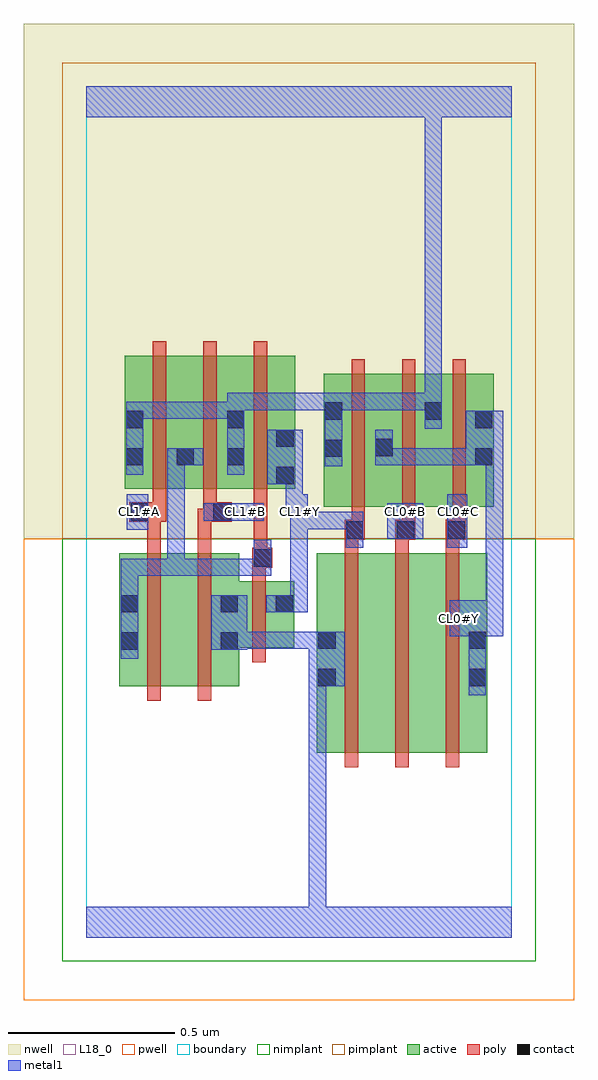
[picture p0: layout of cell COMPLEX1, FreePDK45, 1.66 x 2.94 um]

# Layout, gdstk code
import gdstk
lib = gdstk.Library(unit=1e-6, precision=1e-09)
def R(c, l, rs):  # rectangles x0, y0, x1, y1
    for r in rs: c.add(gdstk.rectangle(r[:2], r[2:], *l))
def A(c, l, x, y, w, h, nx, ny, dx, dy):  # array of equal rectangles
    R(c, l, [(x+i*dx, y+j*dy, x+i*dx+w, y+j*dy+h) for i in range(nx) for j in range(ny)])
active = (1, 0)
pwell = (2, 0)
nwell = (3, 0)
nimplant = (4, 0)
pimplant = (5, 0)
poly = (9, 0)
contact = (10, 0)
metal1 = (11, 0)
L18_0 = (18, 0)
boundary = (235, 0)

complex1 = lib.new_cell('COMPLEX1')
R(complex1, active, [(0.694,0.556,0.754,1.156), (0.694,0.556,0.874,1.156), (0.874,0.556,1.026,1.156), (1.026,0.556,1.206,1.156), (1.146,0.556,1.206,1.156), (0.1,0.756,0.28,1.156), (0.1,0.756,0.16,1.156), (0.28,0.756,0.46,1.156), (0.4,0.756,0.46,1.072), (0.4,0.872,0.626,1.072), (0.566,0.872,0.626,1.072), (0.714,1.296,0.774,1.696), (0.714,1.296,0.926,1.696), (0.866,1.296,1.074,1.696), (1.014,1.296,1.074,1.696), (1.014,1.296,1.226,1.696), (1.166,1.296,1.226,1.696), (0.116,1.35,0.328,1.75), (0.116,1.35,0.176,1.644), (0.268,1.35,0.48,1.75), (0.42,1.35,0.628,1.75), (0.568,1.35,0.628,1.644), (0.268,1.416,0.328,1.644), (0.42,1.416,0.48,1.644), (0.866,1.444,0.926,1.644)])
R(complex1, pwell, [(-0.188,-0.188,1.468,1.2)])
R(complex1, nwell, [(-0.188,1.2,1.468,2.748)])
R(complex1, nimplant, [(-0.072,-0.072,1.352,1.2)])
R(complex1, pimplant, [(-0.072,1.2,1.352,2.632)])
A(complex1, poly, 0.778, 0.512, 0.04, 0.688, 3, 1, 0.152, 0)
A(complex1, poly, 0.778, 1.16, 0.04, 0.076, 3, 1, 0.152, 0)
A(complex1, poly, 0.778, 1.196, 0.06, 0.06, 3, 1, 0.152, 0)
A(complex1, poly, 0.798, 1.216, 0.04, 0.076, 3, 1, 0.152, 0)
A(complex1, poly, 0.798, 1.252, 0.04, 0.488, 3, 1, 0.152, 0)
A(complex1, poly, 0.2, 1.306, 0.04, 0.488, 3, 1, 0.152, 0)
R(complex1, poly, [(0.184,0.712,0.224,1.2), (0.336,0.712,0.376,1.2), (0.5,0.828,0.54,1.116), (0.5,1.076,0.54,1.152), (0.5,1.112,0.56,1.172), (0.504,1.132,0.544,1.172), (0.504,1.132,0.544,1.172), (0.504,1.132,0.544,1.346), (0.184,1.16,0.224,1.29), (0.336,1.16,0.376,1.29), (1.082,1.196,1.122,1.236), (1.082,1.196,1.122,1.236), (0.798,1.216,0.838,1.256), (0.798,1.216,0.838,1.256), (0.95,1.216,0.99,1.256), (0.95,1.216,0.99,1.256), (0.13,1.25,0.24,1.31), (0.184,1.25,0.224,1.29), (0.184,1.25,0.224,1.29), (0.336,1.25,0.392,1.29), (0.352,1.25,0.392,1.29), (0.352,1.25,0.438,1.31), (0.2,1.27,0.24,1.346), (0.352,1.27,0.392,1.346)])
A(complex1, contact, 0.782, 1.2, 0.052, 0.052, 3, 1, 0.152, 0)
A(complex1, contact, 0.12, 1.42, 0.052, 0.052, 3, 1, 0.152, 0)
R(complex1, contact, [(0.698,0.756,0.75,0.808), (1.15,0.756,1.202,0.808), (0.104,0.866,0.156,0.918), (0.404,0.866,0.456,0.918), (0.698,0.868,0.75,0.92), (1.15,0.868,1.202,0.92), (0.104,0.978,0.156,1.03), (0.404,0.978,0.456,1.03), (0.57,0.978,0.622,1.03), (0.504,1.116,0.556,1.168), (0.134,1.254,0.186,1.306), (0.382,1.254,0.434,1.306), (0.572,1.364,0.624,1.416), (1.17,1.42,1.222,1.472), (0.718,1.446,0.77,1.498), (0.87,1.448,0.922,1.5), (0.572,1.476,0.624,1.528), (0.12,1.532,0.172,1.584), (0.424,1.532,0.476,1.584), (1.17,1.532,1.222,1.584), (0.718,1.558,0.77,1.61), (1.018,1.558,1.07,1.61)])
R(complex1, metal1, [(0,0,1.28,0.092), (0.67,0.04,0.722,0.808), (1.15,0.728,1.202,0.948), (0.67,0.756,0.722,0.808), (0.67,0.756,0.722,0.808), (0.67,0.756,0.722,0.808), (0.67,0.756,0.722,0.808), (0.67,0.756,0.722,0.808), (0.67,0.756,0.722,0.808), (0.67,0.756,0.722,0.808), (0.67,0.756,0.722,0.808), (0.67,0.756,0.778,0.92), (0.104,0.838,0.156,1.058), (0.376,0.866,0.484,1.03), (0.432,0.868,0.484,0.92), (0.432,0.868,0.484,0.92), (0.432,0.868,0.594,0.92), (0.542,0.868,0.594,0.92), (0.542,0.868,0.594,0.92), (0.542,0.868,0.594,0.92), (0.542,0.868,0.594,0.92), (0.542,0.868,0.594,0.92), (0.542,0.868,0.722,0.92), (1.15,0.896,1.202,0.958), (1.094,0.906,1.254,1.014), (1.202,0.962,1.254,1.472), (0.542,0.978,0.666,1.03), (0.614,0.978,0.666,1.278), (0.104,1.006,0.156,1.14), (0.104,1.088,0.156,1.14), (0.104,1.088,0.156,1.14), (0.104,1.088,0.156,1.14), (0.104,1.088,0.296,1.14), (0.244,1.088,0.296,1.14), (0.244,1.088,0.296,1.14), (0.244,1.088,0.296,1.14), (0.244,1.088,0.406,1.14), (0.244,1.088,0.296,1.472), (0.354,1.088,0.406,1.14), (0.354,1.088,0.556,1.14), (0.504,1.088,0.556,1.196), (0.782,1.172,0.834,1.28), (1.086,1.172,1.146,1.334), (0.906,1.2,1.014,1.306), (0.122,1.226,0.186,1.334), (0.614,1.226,0.666,1.334), (0.614,1.228,0.666,1.28), (0.614,1.228,0.666,1.28), (0.614,1.228,0.834,1.28), (0.354,1.254,0.534,1.306), (0.6,1.282,0.652,1.416), (0.6,1.282,0.666,1.334), (0.614,1.282,0.666,1.334), (0.544,1.364,0.652,1.528), (0.12,1.392,0.172,1.612), (0.424,1.392,0.476,1.612), (0.718,1.418,0.77,1.638), (0.244,1.42,0.296,1.472), (0.244,1.42,0.296,1.472), (0.244,1.42,0.352,1.472), (0.87,1.42,0.922,1.472), (0.87,1.42,0.922,1.472), (0.87,1.42,0.922,1.528), (0.87,1.42,1.036,1.472), (0.984,1.42,1.036,1.472), (0.984,1.42,1.194,1.472), (1.142,1.42,1.194,1.472), (1.142,1.42,1.194,1.472), (1.142,1.42,1.254,1.584), (1.202,1.42,1.254,1.472), (1.202,1.42,1.254,1.472), (1.018,1.53,1.07,1.638), (0.12,1.56,0.172,1.612), (0.12,1.56,0.172,1.612), (0.12,1.56,0.296,1.612), (0.244,1.56,0.296,1.612), (0.244,1.56,0.296,1.612), (0.244,1.56,0.296,1.612), (0.244,1.56,0.476,1.612), (0.424,1.56,0.476,1.612), (0.424,1.56,0.476,1.638), (0.424,1.586,0.594,1.638), (0.542,1.586,0.594,1.638), (0.542,1.586,0.77,1.638), (0.718,1.586,0.812,1.638), (0.76,1.586,0.812,1.638), (0.76,1.586,0.926,1.638), (0.874,1.586,0.926,1.638), (0.874,1.586,0.926,1.638), (0.874,1.586,0.926,1.638), (0.874,1.586,1.07,1.638), (1.018,1.586,1.07,1.638), (1.018,1.586,1.07,1.638), (1.018,1.586,1.07,1.638), (1.018,1.586,1.07,1.638), (1.018,1.586,1.07,2.52), (0,2.468,1.28,2.56), (1.018,2.468,1.07,2.52), (1.018,2.468,1.07,2.52), (1.018,2.468,1.07,2.52), (1.018,2.468,1.07,2.52), (1.018,2.468,1.07,2.52), (1.018,2.468,1.07,2.52), (1.018,2.468,1.07,2.52), (1.018,2.468,1.07,2.52), (1.018,2.468,1.07,2.52), (1.018,2.468,1.07,2.52), (1.018,2.468,1.07,2.52), (1.018,2.468,1.07,2.52)])
R(complex1, L18_0, [(0,0,1.28,0.092), (0.67,0.04,0.722,0.808), (1.15,0.728,1.202,0.948), (0.67,0.756,0.722,0.808), (0.67,0.756,0.722,0.808), (0.67,0.756,0.722,0.808), (0.67,0.756,0.722,0.808), (0.67,0.756,0.722,0.808), (0.67,0.756,0.722,0.808), (0.67,0.756,0.722,0.808), (0.67,0.756,0.722,0.808), (0.67,0.756,0.778,0.92), (0.376,0.866,0.484,1.03), (0.432,0.868,0.484,0.92), (0.432,0.868,0.484,0.92), (0.432,0.868,0.594,0.92), (0.542,0.868,0.594,0.92), (0.542,0.868,0.594,0.92), (0.542,0.868,0.594,0.92), (0.542,0.868,0.594,0.92), (0.542,0.868,0.594,0.92), (0.542,0.868,0.722,0.92), (1.15,0.896,1.202,0.958), (1.094,0.906,1.254,1.014), (1.094,0.934,1.146,0.986), (1.202,0.962,1.254,1.472), (0.542,0.978,0.666,1.03), (0.614,0.978,0.666,1.278), (0.782,1.172,0.834,1.28), (1.086,1.172,1.146,1.334), (0.906,1.2,1.014,1.306), (0.122,1.226,0.186,1.334), (0.614,1.226,0.666,1.334), (0.614,1.228,0.666,1.28), (0.614,1.228,0.666,1.28), (0.614,1.228,0.834,1.28), (0.134,1.254,0.186,1.306), (0.354,1.254,0.534,1.306), (0.454,1.254,0.506,1.306), (0.614,1.254,0.666,1.306), (0.934,1.254,0.986,1.306), (1.094,1.254,1.146,1.306), (0.6,1.282,0.666,1.334), (0.6,1.282,0.652,1.416), (0.614,1.282,0.666,1.334), (0.544,1.364,0.652,1.528), (0.12,1.392,0.172,1.612), (0.424,1.392,0.476,1.612), (0.718,1.418,0.77,1.638), (0.87,1.42,0.922,1.472), (0.87,1.42,0.922,1.472), (0.87,1.42,0.922,1.528), (0.87,1.42,1.036,1.472), (0.984,1.42,1.036,1.472), (0.984,1.42,1.194,1.472), (1.142,1.42,1.194,1.472), (1.142,1.42,1.194,1.472), (1.142,1.42,1.254,1.584), (1.202,1.42,1.254,1.472), (1.202,1.42,1.254,1.472), (1.018,1.53,1.07,1.638), (0.12,1.56,0.172,1.612), (0.12,1.56,0.172,1.612), (0.12,1.56,0.296,1.612), (0.244,1.56,0.296,1.612), (0.244,1.56,0.296,1.612), (0.244,1.56,0.296,1.612), (0.244,1.56,0.476,1.612), (0.424,1.56,0.476,1.612), (0.424,1.56,0.476,1.638), (0.424,1.586,0.594,1.638), (0.542,1.586,0.594,1.638), (0.542,1.586,0.77,1.638), (0.718,1.586,0.812,1.638), (0.76,1.586,0.812,1.638), (0.76,1.586,0.926,1.638), (0.874,1.586,0.926,1.638), (0.874,1.586,0.926,1.638), (0.874,1.586,0.926,1.638), (0.874,1.586,1.07,1.638), (1.018,1.586,1.07,1.638), (1.018,1.586,1.07,1.638), (1.018,1.586,1.07,1.638), (1.018,1.586,1.07,1.638), (1.018,1.586,1.07,2.52), (0,2.468,1.28,2.56), (1.018,2.468,1.07,2.52), (1.018,2.468,1.07,2.52), (1.018,2.468,1.07,2.52), (1.018,2.468,1.07,2.52), (1.018,2.468,1.07,2.52), (1.018,2.468,1.07,2.52), (1.018,2.468,1.07,2.52), (1.018,2.468,1.07,2.52), (1.018,2.468,1.07,2.52), (1.018,2.468,1.07,2.52), (1.018,2.468,1.07,2.52), (1.018,2.468,1.07,2.52)])
R(complex1, boundary, [(0,0,1.28,2.56)])
complex1.add(gdstk.Label('CL0#B', (0.96,1.28), layer=11, texttype=0))
complex1.add(gdstk.Label('CL0#C', (1.12,1.28), layer=11, texttype=0))
complex1.add(gdstk.Label('CL0#Y', (1.12,0.96), layer=11, texttype=0))
complex1.add(gdstk.Label('CL1#A', (0.16,1.28), layer=11, texttype=0))
complex1.add(gdstk.Label('CL1#B', (0.48,1.28), layer=11, texttype=0))
complex1.add(gdstk.Label('CL1#Y', (0.64,1.28), layer=11, texttype=0))

lib.write_gds('COMPLEX1.gds')
